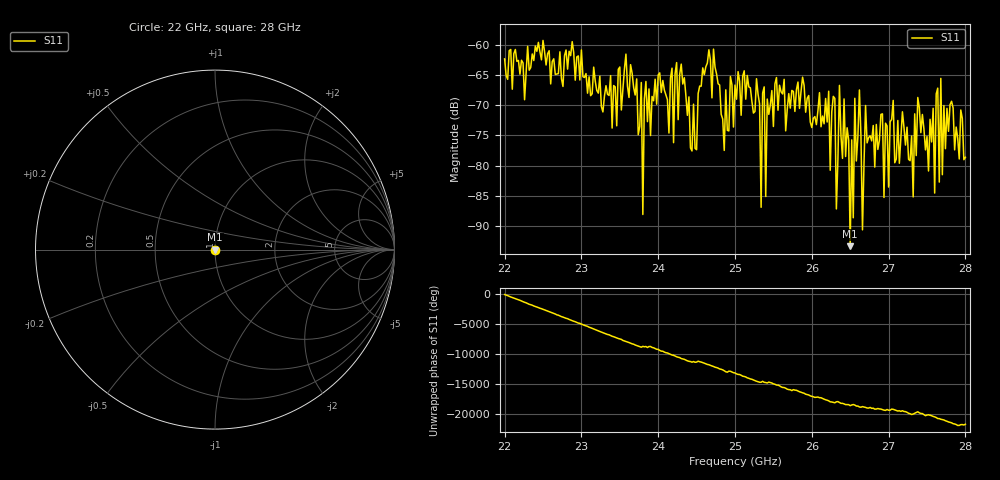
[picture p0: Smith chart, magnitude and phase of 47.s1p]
#  HZ  S  RI  R  50.00
! Rohde & Schwarz ZVA40 4Ports - Version 3.90 - 1145.1110k42 SN: 100403
! Date: 2023-10-04 09:21:26
! Measurement: S12
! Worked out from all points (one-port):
!   301 points, 22 GHz to 28 GHz, reference 50 ohm
!   lowest |S11| = -93.3 dB at 26.5 GHz (marker M1), VSWR 1.00, Z = 50 + j0.00034 ohm
!   |S11| at or under -10 dB: start of sweep to end of sweep
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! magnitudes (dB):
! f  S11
! 22 GHz  -62.4
! 22.76 GHz  -66.9
! 23.5 GHz  -63.7
! 23.78 GHz  -66.3
! 23.8 GHz  -88.1
! 23.84 GHz  -66.1
! 24.26 GHz  -72.4
! 25 GHz  -66.7
! 25.28 GHz  -65.6
! 25.34 GHz  -86.9
! 25.38 GHz  -67.0
! 25.4 GHz  -85.1
! 25.76 GHz  -67.7
! 26.22 GHz  -67.7
! 26.24 GHz  -80.8
! 26.3 GHz  -68.9
! 26.32 GHz  -87.1
! 26.36 GHz  -66.7
! 26.5 GHz  -93.3
! 26.62 GHz  -67.5
! 26.66 GHz  -90.6
! 27.26 GHz  -79.0
! 27.6 GHz  -84.5
! 27.64 GHz  -67.2
! 27.66 GHz  -82.7
! 27.68 GHz  -65.6
! 27.7 GHz  -81.5
! 28 GHz  -78.6
